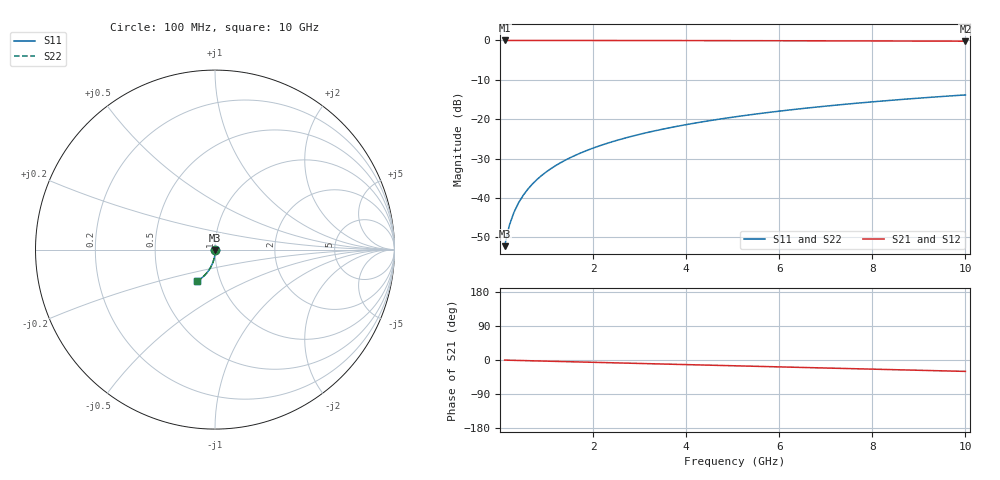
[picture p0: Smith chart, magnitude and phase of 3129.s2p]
# Hz S RI R 50.00
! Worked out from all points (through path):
!   100 points, 100 MHz to 10 GHz, reference 50 ohm
!   highest |S21| = -0.01 dB at 100 MHz (marker M1); lowest = -0.2 dB at 10 GHz (marker M2)
!   group delay of S21, straight-line fit = 8.36 ps
!   lowest |S11| = -52.3 dB at 100 MHz (marker M3), VSWR 1.00, Z = 50.1 - j0.216 ohm
!   |S11| at or under -10 dB: start of sweep to end of sweep
!   |S22| runs from -52.3 to -13.8 dB; largest |S21 - S12| = 0
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1e8  0.00114 -0.00215  0.9988 -0.00529  0.9988 -0.00529  0.00114 -0.00215
2e8  0.00111 -0.00431  0.9988 -0.0106  0.9988 -0.0106  0.00111 -0.00431
3e8  0.00106 -0.00646  0.9987 -0.0159  0.9987 -0.0159  0.00106 -0.00646
4e8  0.000979 -0.00861  0.9985 -0.0212  0.9985 -0.0212  0.000979 -0.00861
5e8  0.000877 -0.0108  0.9984 -0.0265  0.9984 -0.0265  0.000877 -0.0108
6e8  0.000752 -0.0129  0.9982 -0.0318  0.9982 -0.0318  0.000752 -0.0129
7e8  0.000604 -0.0151  0.998 -0.037  0.998 -0.037  0.000604 -0.0151
8e8  0.000433 -0.0172  0.9977 -0.0423  0.9977 -0.0423  0.000433 -0.0172
9e8  0.000239 -0.0193  0.9975 -0.0476  0.9975 -0.0476  0.000239 -0.0193
1.1e9  -0.000218 -0.0236  0.9968 -0.0582  0.9968 -0.0582  -0.000218 -0.0236
1.4e9  -0.00107 -0.03  0.9955 -0.074  0.9955 -0.074  -0.00107 -0.03
1.8e9  -0.00253 -0.0385  0.9934 -0.095  0.9934 -0.095  -0.00253 -0.0385
2.1e9  -0.00386 -0.0448  0.9915 -0.1108  0.9915 -0.1108  -0.00386 -0.0448
2.5e9  -0.00594 -0.0532  0.9885 -0.1317  0.9885 -0.1317  -0.00594 -0.0532
2.9e9  -0.00837 -0.0614  0.985 -0.1525  0.985 -0.1525  -0.00837 -0.0614
3.4e9  -0.0119 -0.0716  0.9799 -0.1783  0.9799 -0.1783  -0.0119 -0.0716
4.2e9  -0.0186 -0.0874  0.9701 -0.2193  0.9701 -0.2193  -0.0186 -0.0874
5.1e9  -0.0277 -0.1044  0.9568 -0.2645  0.9568 -0.2645  -0.0277 -0.1044
5.9e9  -0.0371 -0.1186  0.943 -0.3038  0.943 -0.3038  -0.0371 -0.1186
6.7e9  -0.0476 -0.1321  0.9274 -0.3423  0.9274 -0.3423  -0.0476 -0.1321
8.4e9  -0.0733 -0.1572  0.8886 -0.4206  0.8886 -0.4206  -0.0733 -0.1572
1e10  -0.1009 -0.1763  0.8459 -0.4896  0.8459 -0.4896  -0.1009 -0.1763
